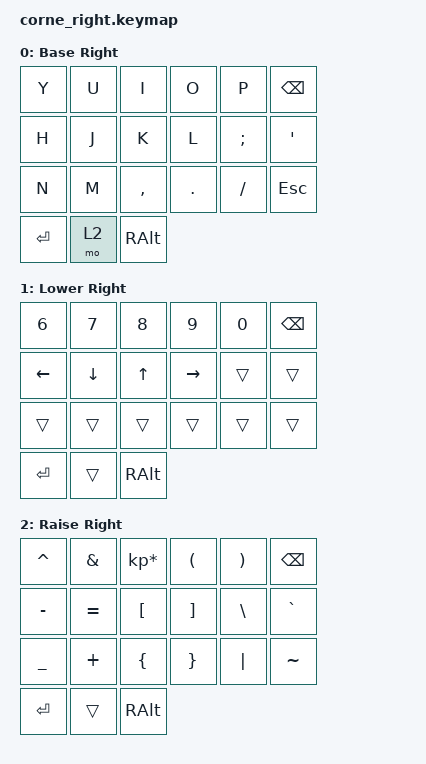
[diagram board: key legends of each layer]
/*
 * Copyright (c) 2020 The ZMK Contributors
 *
 * SPDX-License-Identifier: MIT
 */

#include <behaviors.dtsi>
#include <dt-bindings/zmk/keys.h>
#include <dt-bindings/zmk/bt.h>

/ {
    keymap {
        compatible = "zmk,keymap";

        default_layer {
            display-name = "Base Right";
            bindings = <
   &kp Y &kp U  &kp I     &kp O   &kp P    &kp BSPC
   &kp H &kp J  &kp K     &kp L   &kp SEMI &kp SQT
   &kp N &kp M  &kp COMMA &kp DOT &kp FSLH &kp ESC
   &kp RET &mo 2 &kp RALT
            >;
        };

        lower_layer {
            display-name = "Lower Right";
            bindings = <
   &kp N6   &kp N7   &kp N8 &kp N9    &kp N0 &kp BSPC
   &kp LEFT &kp DOWN &kp UP &kp RIGHT &trans &trans
   &trans   &trans   &trans &trans    &trans &trans
   &kp RET  &trans   &kp RALT
            >;
        };

        raise_layer {
            display-name = "Raise Right";
            bindings = <
   &kp CARET &kp AMPS  &kp KP_MULTIPLY &kp LPAR &kp RPAR &kp BSPC
   &kp MINUS &kp EQUAL &kp LBKT        &kp RBKT &kp BSLH &kp GRAVE
   &kp UNDER &kp PLUS  &kp LBRC        &kp RBRC &kp PIPE &kp TILDE
   &kp RET   &trans    &kp RALT
            >;
        };
    };
};
